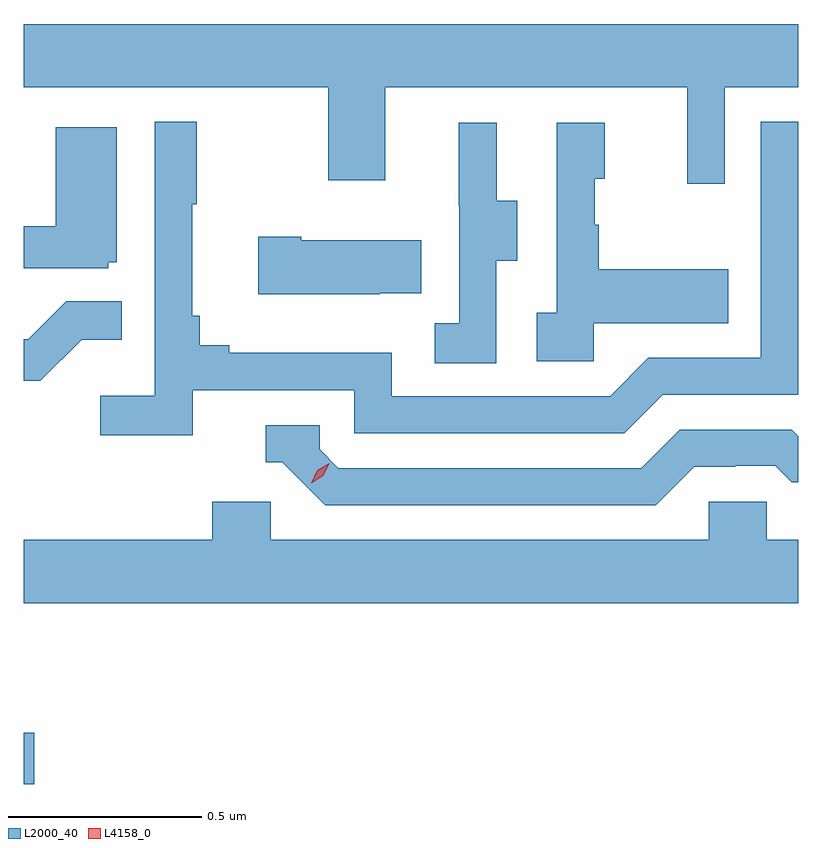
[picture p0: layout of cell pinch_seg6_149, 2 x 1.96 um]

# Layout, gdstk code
import gdstk
lib = gdstk.Library(unit=1e-6, precision=1e-09)
def R(c, l, rs):  # rectangles x0, y0, x1, y1
    for r in rs: c.add(gdstk.rectangle(r[:2], r[2:], *l))
def P(c, l, *ps):  # polygons
    for p in ps: c.add(gdstk.Polygon(p, *l))
L2000_40 = (2000, 40)
L4158_0 = (4158, 0)

pinch_seg6_149 = lib.new_cell('pinch_seg6_149')
R(pinch_seg6_149, L2000_40, [(970.234,916.233,970.261,916.365)])
P(pinch_seg6_149, L2000_40, [(972.045,918.032),(972.234,918.032),(972.234,918.196),(970.234,918.196),(970.234,918.032),(971.02,918.032),(971.02,917.793),(971.167,917.793),(971.167,918.032),(971.948,918.032),(971.948,917.784),(972.045,917.784)],
  [(970.67,917.25),(971.088,917.25),(971.088,917.139),(971.785,917.139),(971.884,917.238),(972.234,917.238),(972.234,917.943),(972.138,917.943),(972.138,917.334),(971.847,917.334),(971.748,917.235),(971.184,917.235),(971.184,917.347),(970.765,917.347),(970.765,917.366),(970.688,917.366),(970.688,917.443),(970.669,917.443),(970.669,917.731),(970.681,917.731),(970.681,917.944),(970.572,917.944),(970.572,917.236),(970.431,917.236),(970.431,917.134),(970.67,917.134)],
  [(971.706,917.423),(972.053,917.423),(972.053,917.563),(971.719,917.563),(971.719,917.678),(971.709,917.678),(971.709,917.796),(971.734,917.796),(971.734,917.941),(971.61,917.941),(971.61,917.45),(971.559,917.45),(971.559,917.325),(971.706,917.325)],
  [(971.454,917.584),(971.509,917.584),(971.509,917.739),(971.455,917.739),(971.455,917.941),(971.357,917.941),(971.357,917.727),(971.358,917.727),(971.358,917.423),(971.295,917.423),(971.295,917.32),(971.454,917.32)],
  [(970.452,917.58),(970.474,917.58),(970.474,917.929),(970.316,917.929),(970.316,917.674),(970.234,917.674),(970.234,917.565),(970.452,917.565)],
  [(971.153,917.501),(971.261,917.501),(971.261,917.638),(970.951,917.638),(970.951,917.646),(970.839,917.646),(970.839,917.498),(971.153,917.498)],
  [(970.383,917.381),(970.487,917.381),(970.487,917.48),(970.343,917.48),(970.245,917.382),(970.234,917.382),(970.234,917.274),(970.276,917.274)],
  [(971.965,917.052),(972.072,917.052),(972.072,917.055),(972.175,917.055),(972.217,917.013),(972.234,917.013),(972.234,917.131),(972.217,917.148),(971.928,917.148),(971.829,917.049),(971.046,917.049),(970.998,917.097),(970.998,917.16),(970.859,917.16),(970.859,917.064),(970.902,917.064),(971.013,916.953),(971.866,916.953)],
  [(972.234,916.864),(972.153,916.864),(972.153,916.962),(972.003,916.962),(972.003,916.864),(970.872,916.864),(970.872,916.962),(970.721,916.962),(970.721,916.864),(970.234,916.864),(970.234,916.7),(972.234,916.7)])
P(pinch_seg6_149, L4158_0, [(970.976,917.01),(970.976,917.01),(970.992,917.043),(971.023,917.062),(971.023,917.062),(971.023,917.062),(971.007,917.029),(970.976,917.01)])

lib.write_gds('pinch_seg6_149.gds')
